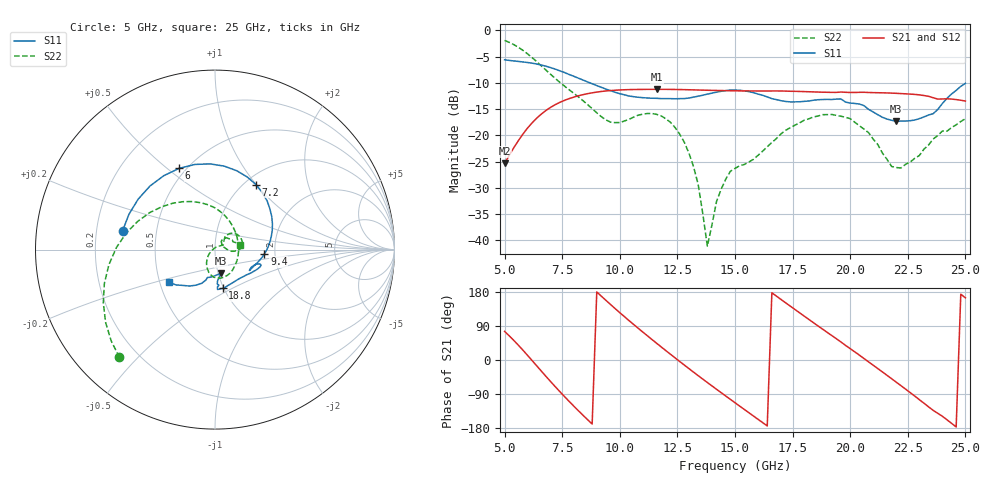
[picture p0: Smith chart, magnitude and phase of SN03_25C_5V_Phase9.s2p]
!File name = SN03_25C_5V_Phase9.s2p
!Date = 2/3/2014
!Time = 2:34 PM
!Test duration(min) = 0.07
!Test = SPars
!MPTS version = 7.120.8
!Comments =
!set_LD1(binary) = 9
!set_LD2(binary) = 524278
!test = SPars
!date_code = 20140203
!file_name = SN03_25C_5V_Phase9.s2p
!VREF(V) = 5.000
!VREF(mA) = 0.001
# GHz  S  DB  R  50
!%	Freq(GHz)  S11(dB)  S11(deg)  S21(dB)  S21(deg)  S12(dB)  S12(deg)  S22(dB)  S22(deg)
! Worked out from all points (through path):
!   101 points, 5 GHz to 25 GHz, reference 50 ohm
!   highest |S21| = -11.22 dB at 11.6 GHz (marker M1); lowest = -25.3 dB at 5 GHz (marker M2)
!   lowest |S11| = -17.3 dB at 22 GHz (marker M3), VSWR 1.31, Z = 51.6 - j13.8 ohm
!   |S11| at or under -10 dB: 8.713 GHz to end of sweep
!   |S22| runs from -41.1 to -1.9 dB; largest |S21 - S12| = 0.00058
!   S11 on the Smith chart (normalised r, x): 5 GHz: 0.31, +0.09; 6 GHz: 0.46, +0.55; 7.2 GHz: 1.12, +1.00; 9.4 GHz: 1.76, -0.09; 18.8 GHz: 0.99, -0.45; 25 GHz: 0.56, -0.23
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5  -5.59 168.5  -25.34 75.5  -25.35 75.5  -1.91 -131.6
6  -6.11 113.8  -18.57 12.0  -18.58 11.9  -4.48 -171.9
6.6  -6.60 83.7  -15.90 -29.7  -15.92 -29.7  -6.78 159.9
7.2  -7.37 57.8  -14.13 -70.5  -14.15 -70.4  -9.15 132.1
8.4  -9.44 18.9  -12.24 -145.6  -12.25 -145.6  -13.37 82.4
9.4  -11.18 -5.0  -11.53 157.3  -11.54 157.3  -17.05 28.8
10.4  -12.49 -21.5  -11.27 104.0  -11.28 104.0  -16.93 -37.9
11.6  -12.93 -30.7  -11.22 44.1  -11.24 44.2  -15.99 -86.4
11.8  -12.99 -31.1  -11.22 34.4  -11.24 34.4  -16.28 -92.6
13  -12.88 -24.8  -11.30 -22.7  -11.31 -22.7  -23.36 -130.1
13.4  -12.53 -21.3  -11.35 -41.2  -11.36 -41.2  -29.29 -147.5
13.8  -12.13 -19.0  -11.39 -59.4  -11.40 -59.4  -41.09 138.4
14.2  -11.75 -18.0  -11.43 -77.3  -11.44 -77.3  -32.55 52.0
15  -11.36 -19.4  -11.50 -112.7  -11.51 -112.7  -26.28 29.3
16.6  -12.99 -39.0  -11.53 177.3  -11.54 177.3  -21.34 50.9
18.4  -13.30 -73.7  -11.71 98.6  -11.72 98.7  -16.48 34.4
18.8  -13.16 -78.7  -11.76 81.5  -11.78 81.5  -16.04 26.8
20  -13.83 -84.8  -11.82 30.0  -11.82 29.9  -16.80 2.2
21.8  -17.11 -76.6  -11.94 -49.5  -11.94 -49.6  -25.91 17.2
22  -17.33 -75.8  -11.98 -58.5  -11.98 -58.6  -26.11 27.6
23.6  -15.86 -105.3  -12.81 -132.8  -12.82 -132.8  -20.69 45.5
25  -10.09 -144.6  -13.45 164.1  -13.46 164.1  -16.82 10.4
